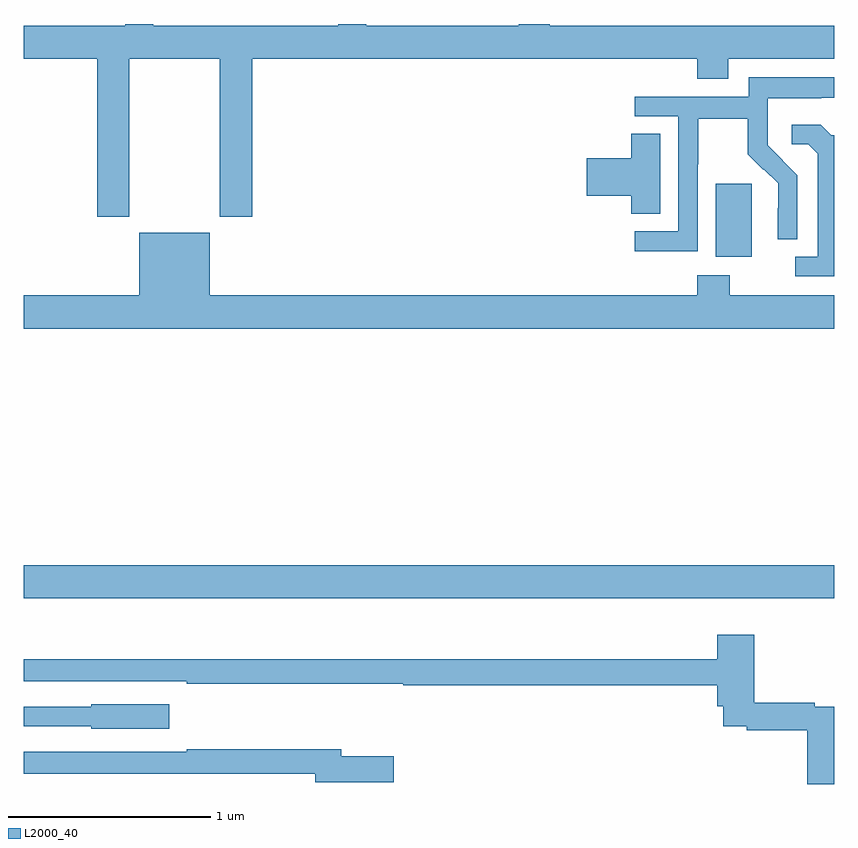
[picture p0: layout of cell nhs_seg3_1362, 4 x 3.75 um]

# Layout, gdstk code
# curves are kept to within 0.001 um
import gdstk
lib = gdstk.Library(unit=1e-6, precision=1e-09)
def R(c, l, rs):  # rectangles x0, y0, x1, y1
    for r in rs: c.add(gdstk.rectangle(r[:2], r[2:], *l))
def P(c, l, *ps):  # polygons
    for p in ps: c.add(gdstk.Polygon(p, *l))
L2000_40 = (2000, 40)

nhs_seg3_1362 = lib.new_cell('nhs_seg3_1362')
R(nhs_seg3_1362, L2000_40, [(181,719.564,185,719.728), (184.415,721.25,184.594,721.611)])
P(nhs_seg3_1362, L2000_40, [(181.521,722.228),(181.966,722.228),(181.966,721.449),(182.126,721.449),(182.126,722.228),(184.325,722.228),(184.325,722.129),(184.477,722.129),(184.477,722.228),(185,722.228),(185,722.392),(183.596,722.392),(183.596,722.4),(183.443,722.4),(183.443,722.392),(182.691,722.392),(182.691,722.4),(182.553,722.4),(182.553,722.392),(181.639,722.392),(181.639,722.4),(181.499,722.4),(181.499,722.392),(181,722.392),(181,722.228),(181.361,722.228),(181.361,721.449),(181.521,721.449)],
  [(184.326,721.708),(184.329,721.708),(184.329,721.932),(184.573,721.932),(184.573,721.757),(184.65,721.68),(184.653,721.683),(184.724,721.613),(184.724,721.49),(184.722,721.49),(184.722,721.336),(184.818,721.336),(184.818,721.654),(184.672,721.802),(184.672,721.899),(184.674,721.899),(184.674,722.033),(184.937,722.033),(184.937,722.037),(185,722.037),(185,722.137),(184.578,722.137),(184.578,722.04),(184.017,722.04),(184.017,721.944),(184.23,721.944),(184.23,721.377),(184.017,721.377),(184.017,721.279),(184.326,721.279)],
  [(185,721.851),(184.986,721.851),(184.934,721.903),(184.791,721.903),(184.791,721.806),(184.872,721.806),(184.919,721.759),(184.919,721.251),(184.809,721.251),(184.809,721.155),(185,721.155)],
  [(184.141,721.859),(183.998,721.859),(183.998,721.736),(183.78,721.736),(183.78,721.553),(183.998,721.553),(183.998,721.462),(184.141,721.462)],
  [(185,721.06),(184.485,721.06),(184.485,721.159),(184.325,721.159),(184.325,721.06),(181.918,721.06),(181.918,721.369),(181.568,721.369),(181.568,721.06),(181,721.06),(181,720.896),(185,720.896)],
  [(185,719.028),(184.904,719.028),(184.904,719.048),(184.607,719.048),(184.607,719.383),(184.424,719.383),(184.424,719.263),(181,719.263),(181,719.154),(181.804,719.154),(181.804,719.142),(182.872,719.142),(182.872,719.134),(184.424,719.134),(184.424,719.03),(184.454,719.03),(184.454,718.932),(184.57,718.932),(184.57,718.912),(184.868,718.912),(184.868,718.647),(185,718.647)],
  [(181.717,719.041),(181.332,719.041),(181.332,719.028),(181,719.028),(181,718.932),(181.332,718.932),(181.332,718.919),(181.717,718.919)],
  [(182.827,718.785),(182.566,718.785),(182.566,718.819),(181.804,718.819),(181.804,718.806),(181,718.806),(181,718.698),(182.438,718.698),(182.438,718.655),(182.827,718.655)])

lib.write_gds('nhs_seg3_1362.gds')
